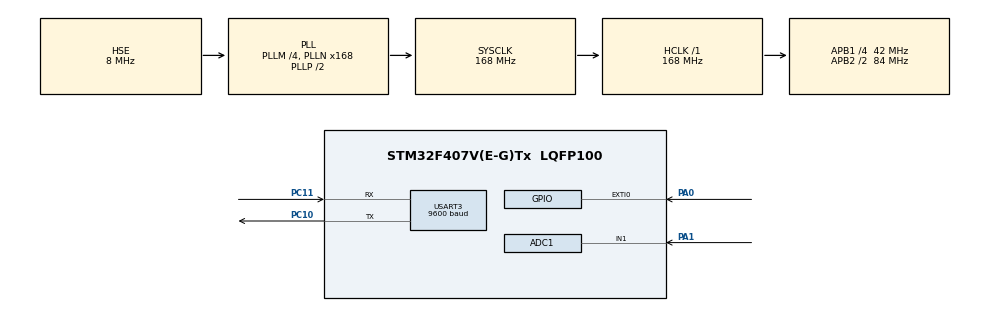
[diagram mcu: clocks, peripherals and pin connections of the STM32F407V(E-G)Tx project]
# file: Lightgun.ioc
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ADC1.Channel-0\#ChannelRegularConversion=ADC_CHANNEL_1
ADC1.NbrOfConversionFlag=1
ADC1.Rank-0\#ChannelRegularConversion=1
ADC1.SamplingTime-0\#ChannelRegularConversion=ADC_SAMPLETIME_3CYCLES
ADC1.master=1
Mcu.Family=STM32F4
Mcu.Name=STM32F407V(E-G)Tx
Mcu.Package=LQFP100
NVIC.ADC_IRQn=true\:0\:0\:false\:false\:true\:true
NVIC.EXTI0_IRQn=true\:0\:0\:false\:false\:true\:true
NVIC.PriorityGroup=NVIC_PRIORITYGROUP_4
NVIC.USART3_IRQn=true\:0\:0\:false\:false\:true\:true
PA0-WKUP.GPIO_ModeDefaultEXTI=GPIO_MODE_IT_RISING
PA0-WKUP.GPIO_PuPd=GPIO_PULLDOWN
PA0-WKUP.Signal=GPXTI0
PA1.Signal=ADCx_IN1
PC10.Mode=Asynchronous
PC10.Signal=USART3_TX
PC11.Mode=Asynchronous
PC11.Signal=USART3_RX
PH0-OSC_IN.Mode=HSE-External-Oscillator
PH0-OSC_IN.Signal=RCC_OSC_IN
PH1-OSC_OUT.Mode=HSE-External-Oscillator
PH1-OSC_OUT.Signal=RCC_OSC_OUT
ProjectManager.HeapSize=0x200
ProjectManager.StackSize=0x400
ProjectManager.TargetToolchain=SW4STM32
RCC.48MHZClocksFreq_Value=84000000
RCC.AHBFreq_Value=168000000
RCC.APB1CLKDivider=RCC_HCLK_DIV4
RCC.APB1Freq_Value=42000000
RCC.APB1TimFreq_Value=84000000
RCC.APB2CLKDivider=RCC_HCLK_DIV2
RCC.APB2Freq_Value=84000000
RCC.APB2TimFreq_Value=168000000
RCC.CortexFreq_Value=168000000
RCC.HCLKFreq_Value=168000000
RCC.HSE_VALUE=8000000
RCC.HSI_VALUE=16000000
RCC.LSE_VALUE=32768
RCC.PLLM=4
RCC.PLLN=168
RCC.PLLSourceVirtual=RCC_PLLSOURCE_HSE
RCC.SYSCLKFreq_VALUE=168000000
RCC.SYSCLKSource=RCC_SYSCLKSOURCE_PLLCLK
RCC.VCOOutputFreq_Value=336000000
SH.ADCx_IN1.0=ADC1_IN1,IN1
USART3.BaudRate=9600
USART3.VirtualMode=VM_ASYNC
board=custom

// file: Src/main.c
/**
  ******************************************************************************
  * @file           : main.c
  * @brief          : Main program body
  ******************************************************************************
  ** This notice applies to any and all portions of this file
  * that are not between comment pairs USER CODE BEGIN and
  * USER CODE END. Other portions of this file, whether
  * inserted by the user or by software development tools
  * are owned by their respective copyright owners.
  *
  * COPYRIGHT(c) 2019 STMicroelectronics
  *
  * Redistribution and use in source and binary forms, with or without modification,
  * are permitted provided that the following conditions are met:
  *   1. Redistributions of source code must retain the above copyright notice,
  *      this list of conditions and the following disclaimer.
  *   2. Redistributions in binary form must reproduce the above copyright notice,
  *      this list of conditions and the following disclaimer in the documentation
  *      and/or other materials provided with the distribution.
  *   3. Neither the name of STMicroelectronics nor the names of its contributors
  *      may be used to endorse or promote products derived from this software
  *      without specific prior written permission.
  *
  * THIS SOFTWARE IS PROVIDED BY THE COPYRIGHT HOLDERS AND CONTRIBUTORS "AS IS"
  * AND ANY EXPRESS OR IMPLIED WARRANTIES, INCLUDING, BUT NOT LIMITED TO, THE
  * IMPLIED WARRANTIES OF MERCHANTABILITY AND FITNESS FOR A PARTICULAR PURPOSE ARE
  * DISCLAIMED. IN NO EVENT SHALL THE COPYRIGHT HOLDER OR CONTRIBUTORS BE LIABLE
  * FOR ANY DIRECT, INDIRECT, INCIDENTAL, SPECIAL, EXEMPLARY, OR CONSEQUENTIAL
  * DAMAGES (INCLUDING, BUT NOT LIMITED TO, PROCUREMENT OF SUBSTITUTE GOODS OR
  * SERVICES; LOSS OF USE, DATA, OR PROFITS; OR BUSINESS INTERRUPTION) HOWEVER
  * CAUSED AND ON ANY THEORY OF LIABILITY, WHETHER IN CONTRACT, STRICT LIABILITY,
  * OR TORT (INCLUDING NEGLIGENCE OR OTHERWISE) ARISING IN ANY WAY OUT OF THE USE
  * OF THIS SOFTWARE, EVEN IF ADVISED OF THE POSSIBILITY OF SUCH DAMAGE.
  *
  ******************************************************************************
  */
#include "main.h"
#include "stm32f4xx_hal.h"

ADC_HandleTypeDef hadc1;

UART_HandleTypeDef huart3;

/* USER CODE BEGIN PV */
/* Private variables ---------------------------------------------------------*/
uint16_t odczyt;
uint8_t wartosc;
uint8_t A[4] = {'K','I','L','L'};
uint16_t sizeSendUART = 4;
uint8_t B[4] = {'M','I','S','S'};
/* USER CODE END PV */

void SystemClock_Config(void);
static void MX_GPIO_Init(void);
static void MX_ADC1_Init(void);
static void MX_USART3_UART_Init(void);

/* USER CODE BEGIN PFP */
/* Private function prototypes -----------------------------------------------*/
void HAL_GPIO_EXTI_Callback(uint16_t GPIO_Pin)
{

	if(HAL_GPIO_ReadPin(GPIOA, GPIO_PIN_0) == GPIO_PIN_SET){

		  	      if(odczyt>800)
		  	      {
		  	    	  wartosc = 1500;

		  	    	HAL_UART_Transmit_IT(&huart3, A, sizeSendUART);

		  	      }
		  	      else
		  	      {
		  	    	  wartosc = 0;
		  	    	HAL_UART_Transmit_IT(&huart3, B, sizeSendUART);
		  	      }
		  	      for(int i=0;i<10000000;i++){

		  	      }

		  }

}
/* USER CODE END PFP */

int main(void)
{

  /* MCU Configuration----------------------------------------------------------*/

  /* Reset of all peripherals, Initializes the Flash interface and the Systick. */
  HAL_Init();

  /* Configure the system clock */
  SystemClock_Config();

  /* Initialize all configured peripherals */
  MX_GPIO_Init();
  MX_ADC1_Init();
  MX_USART3_UART_Init();

  /* Infinite loop */
  /* USER CODE BEGIN WHILE */
  while (1)
  {
	  HAL_ADC_Start(&hadc1);

  	  if(HAL_ADC_PollForConversion(&hadc1, 10) == HAL_OK)
  	  {
  	      odczyt = HAL_ADC_GetValue(&hadc1);
  	  }
  /* USER CODE END WHILE */

  }

}

void SystemClock_Config(void)
{

  RCC_OscInitTypeDef RCC_OscInitStruct;
  RCC_ClkInitTypeDef RCC_ClkInitStruct;

    /**Configure the main internal regulator output voltage
    */
  __HAL_RCC_PWR_CLK_ENABLE();

  __HAL_PWR_VOLTAGESCALING_CONFIG(PWR_REGULATOR_VOLTAGE_SCALE1);

    /**Initializes the CPU, AHB and APB busses clocks
    */
  RCC_OscInitStruct.OscillatorType = RCC_OSCILLATORTYPE_HSE;
  RCC_OscInitStruct.HSEState = RCC_HSE_ON;
  RCC_OscInitStruct.PLL.PLLState = RCC_PLL_ON;
  RCC_OscInitStruct.PLL.PLLSource = RCC_PLLSOURCE_HSE;
  RCC_OscInitStruct.PLL.PLLM = 4;
  RCC_OscInitStruct.PLL.PLLN = 168;
  RCC_OscInitStruct.PLL.PLLP = RCC_PLLP_DIV2;
  RCC_OscInitStruct.PLL.PLLQ = 4;
  if (HAL_RCC_OscConfig(&RCC_OscInitStruct) != HAL_OK)
  {
    _Error_Handler(__FILE__, __LINE__);
  }

    /**Initializes the CPU, AHB and APB busses clocks
    */
  RCC_ClkInitStruct.ClockType = RCC_CLOCKTYPE_HCLK|RCC_CLOCKTYPE_SYSCLK
                              |RCC_CLOCKTYPE_PCLK1|RCC_CLOCKTYPE_PCLK2;
  RCC_ClkInitStruct.SYSCLKSource = RCC_SYSCLKSOURCE_PLLCLK;
  RCC_ClkInitStruct.AHBCLKDivider = RCC_SYSCLK_DIV1;
  RCC_ClkInitStruct.APB1CLKDivider = RCC_HCLK_DIV4;
  RCC_ClkInitStruct.APB2CLKDivider = RCC_HCLK_DIV2;

  if (HAL_RCC_ClockConfig(&RCC_ClkInitStruct, FLASH_LATENCY_5) != HAL_OK)
  {
    _Error_Handler(__FILE__, __LINE__);
  }

    /**Configure the Systick interrupt time
    */
  HAL_SYSTICK_Config(HAL_RCC_GetHCLKFreq()/1000);

    /**Configure the Systick
    */
  HAL_SYSTICK_CLKSourceConfig(SYSTICK_CLKSOURCE_HCLK);

  /* SysTick_IRQn interrupt configuration */
  HAL_NVIC_SetPriority(SysTick_IRQn, 0, 0);
}

/* ADC1 init function */
static void MX_ADC1_Init(void)
{

  ADC_ChannelConfTypeDef sConfig;

    /**Configure the global features of the ADC (Clock, Resolution, Data Alignment and number of conversion)
    */
  hadc1.Instance = ADC1;
  hadc1.Init.ClockPrescaler = ADC_CLOCK_SYNC_PCLK_DIV4;
  hadc1.Init.Resolution = ADC_RESOLUTION_12B;
  hadc1.Init.ScanConvMode = DISABLE;
  hadc1.Init.ContinuousConvMode = DISABLE;
  hadc1.Init.DiscontinuousConvMode = DISABLE;
  hadc1.Init.ExternalTrigConvEdge = ADC_EXTERNALTRIGCONVEDGE_NONE;
  hadc1.Init.ExternalTrigConv = ADC_SOFTWARE_START;
  hadc1.Init.DataAlign = ADC_DATAALIGN_RIGHT;
  hadc1.Init.NbrOfConversion = 1;
  hadc1.Init.DMAContinuousRequests = DISABLE;
  hadc1.Init.EOCSelection = ADC_EOC_SINGLE_CONV;
  if (HAL_ADC_Init(&hadc1) != HAL_OK)
  {
    _Error_Handler(__FILE__, __LINE__);
  }

    /**Configure for the selected ADC regular channel its corresponding rank in the sequencer and its sample time.
    */
  sConfig.Channel = ADC_CHANNEL_1;
  sConfig.Rank = 1;
  sConfig.SamplingTime = ADC_SAMPLETIME_3CYCLES;
  if (HAL_ADC_ConfigChannel(&hadc1, &sConfig) != HAL_OK)
  {
    _Error_Handler(__FILE__, __LINE__);
  }

}

/* USART3 init function */
static void MX_USART3_UART_Init(void)
{

  huart3.Instance = USART3;
  huart3.Init.BaudRate = 9600;
  huart3.Init.WordLength = UART_WORDLENGTH_8B;
  huart3.Init.StopBits = UART_STOPBITS_1;
  huart3.Init.Parity = UART_PARITY_NONE;
  huart3.Init.Mode = UART_MODE_TX_RX;
  huart3.Init.HwFlowCtl = UART_HWCONTROL_NONE;
  huart3.Init.OverSampling = UART_OVERSAMPLING_16;
  if (HAL_UART_Init(&huart3) != HAL_OK)
  {
    _Error_Handler(__FILE__, __LINE__);
  }

}

/** Configure pins as
        * Analog
        * Input
        * Output
        * EVENT_OUT
        * EXTI
*/
static void MX_GPIO_Init(void)
{

  GPIO_InitTypeDef GPIO_InitStruct;

  /* GPIO Ports Clock Enable */
  __HAL_RCC_GPIOH_CLK_ENABLE();
  __HAL_RCC_GPIOA_CLK_ENABLE();
  __HAL_RCC_GPIOC_CLK_ENABLE();

  /*Configure GPIO pin : PA0 */
  GPIO_InitStruct.Pin = GPIO_PIN_0;
  GPIO_InitStruct.Mode = GPIO_MODE_IT_RISING;
  GPIO_InitStruct.Pull = GPIO_PULLDOWN;
  HAL_GPIO_Init(GPIOA, &GPIO_InitStruct);

  /* EXTI interrupt init*/
  HAL_NVIC_SetPriority(EXTI0_IRQn, 0, 0);
  HAL_NVIC_EnableIRQ(EXTI0_IRQn);

}

void _Error_Handler(char *file, int line)
{
  while(1)
  {
  }
}

/************************ (C) COPYRIGHT STMicroelectronics *****END OF FILE****/
